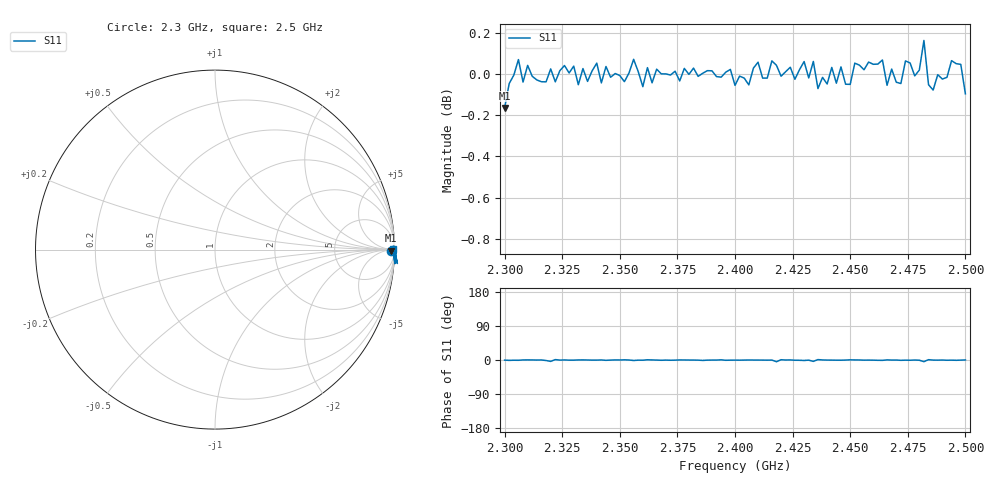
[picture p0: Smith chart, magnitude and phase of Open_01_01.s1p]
# HZ S RI R 50
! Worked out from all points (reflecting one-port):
!   101 points, 2.3 GHz to 2.5 GHz, reference 50 ohm
!   lowest |S11| = -0.2 dB at 2.3 GHz (marker M1), VSWR 105.73, Z = 4.82e+03 - j1.51e+03 ohm
!   phase of S11 starts at -0 deg and turns +0 deg over the sweep
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2.3e9  0.9812 -0.0058
2.306e9  1.008 -0.0131
2.316e9  0.9958 0.00167
2.32e9  1.001 -0.0645
2.322e9  0.9956 0.0187
2.326e9  1.005 0.00259
2.35e9  0.9993 0.000984
2.356e9  1.008 -0.0232
2.362e9  1.004 0.0101
2.368e9  1 -0.0127
2.376e9  0.9962 0.00244
2.386e9  1 -0.0193
2.4e9  0.9938 -0.00563
2.416e9  1.007 -0.00393
2.418e9  1.002 -0.0787
2.42e9  0.9988 0.0124
2.426e9  0.9971 -0.0112
2.432e9  0.9979 -0.00724
2.434e9  1.005 -0.0643
2.436e9  0.9918 0.0182
2.444e9  0.9949 -0.00813
2.45e9  0.9943 0.00725
2.476e9  1.006 -0.011
2.48e9  1.002 -0.00998
2.482e9  1.016 -0.0774
2.484e9  0.994 0.0147
2.492e9  0.9982 -0.0114
2.5e9  0.9891 0.00223
